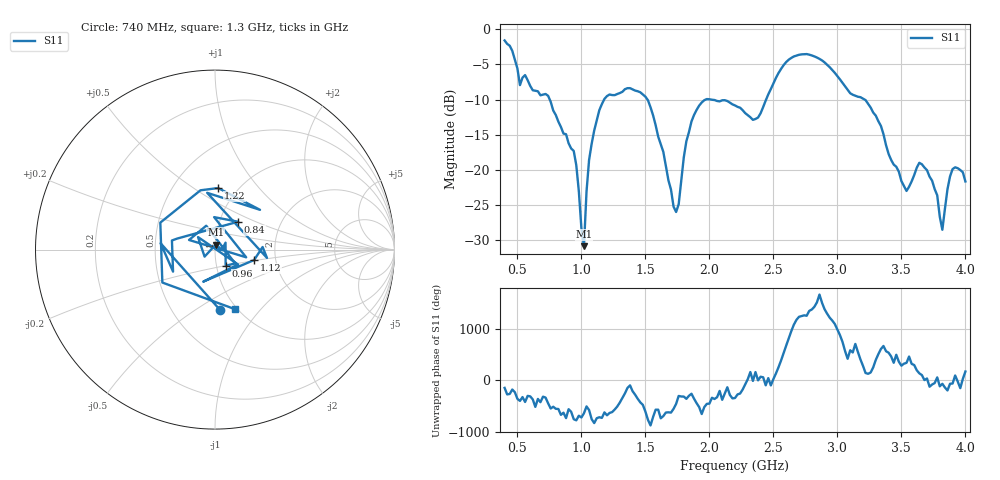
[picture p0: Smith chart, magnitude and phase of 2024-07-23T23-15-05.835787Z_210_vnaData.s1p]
!Created with skrf (http://scikit-rf.org).
# Hz S RI R 50.0
!freq ReS11 ImS11
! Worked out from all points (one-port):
!   181 points, 400 MHz to 4 GHz, reference 50 ohm
!   lowest |S11| = -30.9 dB at 1.02 GHz (marker M1), VSWR 1.06, Z = 50.4 + j2.85 ohm
!   |S11| at or under -10 dB: 1.516 GHz to 1.972 GHz (456.2 MHz wide, 26.2 % of centre); 2.011 GHz to 2.443 GHz (432.3 MHz wide, 19.4 % of centre); 3.212 GHz to end of sweep (the widest 3 of 4)
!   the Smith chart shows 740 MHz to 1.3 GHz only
!   S11 on the Smith chart (normalised r, x): 740 MHz: 0.84, -0.63; 840 MHz: 1.22, +0.40; 960 MHz: 1.11, -0.20; 1.12 GHz: 1.54, -0.19; 1.22 GHz: 0.81, +0.63; 1.3 GHz: 0.98, -0.74
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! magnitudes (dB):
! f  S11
! 400 MHz  -1.6
! 520 MHz  -7.9
! 740 MHz  -9.5
! 840 MHz  -13.9
! 860 MHz  -14.8
! 960 MHz  -19.4
! 1.02 GHz  -30.9
! 1.06 GHz  -18.6
! 1.12 GHz  -12.9
! 1.22 GHz  -9.3
! 1.3 GHz  -9.1
! 1.52 GHz  -10.1
! 1.72 GHz  -25.3
! 1.76 GHz  -24.9
! 1.82 GHz  -15.9
! 1.9 GHz  -11.5
! 2.2 GHz  -10.8
! 2.38 GHz  -12.6
! 2.66 GHz  -3.9
! 3.1 GHz  -9.1
! 3.3 GHz  -12.3
! 3.56 GHz  -22.4
! 3.64 GHz  -19.0
! 3.7 GHz  -20.1
! 3.78 GHz  -23.6
! 3.82 GHz  -28.5
! 3.9 GHz  -19.9
! 4 GHz  -21.7
